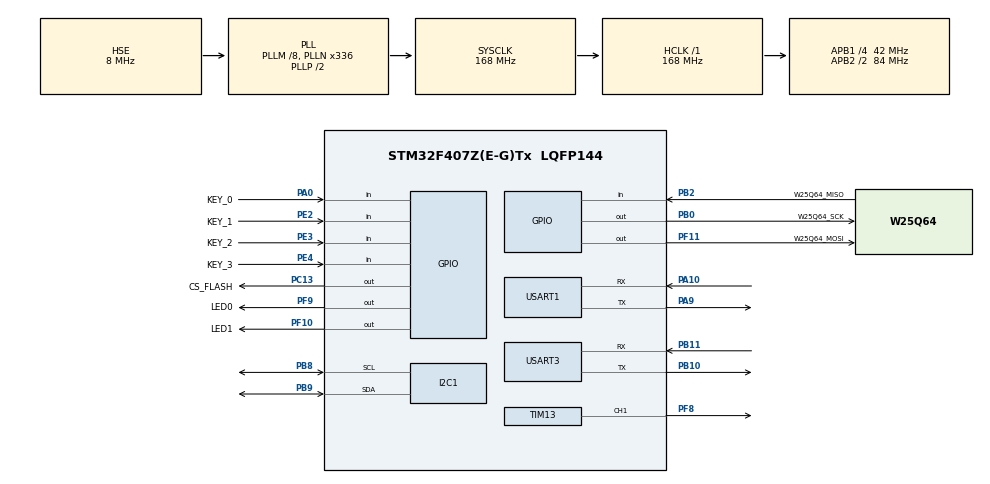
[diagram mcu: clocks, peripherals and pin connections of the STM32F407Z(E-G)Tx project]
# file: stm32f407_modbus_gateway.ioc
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FREERTOS.Tasks01=defaultTask,24,128,StartDefaultTask,Default,NULL,Dynamic,NULL,NULL
IWDG.Prescaler=IWDG_PRESCALER_256
IWDG.Reload=250
Mcu.Family=STM32F4
Mcu.Name=STM32F407Z(E-G)Tx
Mcu.Package=LQFP144
NVIC.PriorityGroup=NVIC_PRIORITYGROUP_4
NVIC.TIM6_DAC_IRQn=true\:15\:0\:false\:false\:true\:false\:false\:true\:true
NVIC.TimeBase=TIM6_DAC_IRQn
NVIC.TimeBaseIP=TIM6
NVIC.USART1_IRQn=true\:5\:0\:false\:false\:true\:true\:true\:true\:true
NVIC.USART3_IRQn=true\:5\:0\:false\:false\:true\:true\:true\:true\:true
PA0-WKUP.GPIO_Label=KEY_0
PA0-WKUP.GPIO_PuPd=GPIO_PULLUP
PA0-WKUP.Signal=GPIO_Input
PA10.Mode=Asynchronous
PA10.Signal=USART1_RX
PA13.Mode=Serial_Wire
PA13.Signal=SYS_JTMS-SWDIO
PA14.Mode=Serial_Wire
PA14.Signal=SYS_JTCK-SWCLK
PA9.Mode=Asynchronous
PA9.Signal=USART1_TX
PB0.GPIO_Label=W25Q64_SCK
PB0.GPIO_Speed=GPIO_SPEED_FREQ_HIGH
PB0.Signal=GPIO_Output
PB10.Mode=Asynchronous
PB10.Signal=USART3_TX
PB11.Mode=Asynchronous
PB11.Signal=USART3_RX
PB2.GPIO_Label=W25Q64_MISO
PB2.GPIO_PuPd=GPIO_PULLUP
PB2.Signal=GPIO_Input
PB8.GPIO_Pu=GPIO_PULLUP
PB8.Mode=I2C
PB8.Signal=I2C1_SCL
PB9.GPIO_Pu=GPIO_PULLUP
PB9.Mode=I2C
PB9.Signal=I2C1_SDA
PC13-ANTI_TAMP.GPIO_Label=CS_FLASH
PC13-ANTI_TAMP.PinState=GPIO_PIN_SET
PC13-ANTI_TAMP.Signal=GPIO_Output
PE2.GPIO_Label=KEY_1
PE2.GPIO_PuPd=GPIO_PULLUP
PE2.Signal=GPIO_Input
PE3.GPIO_Label=KEY_2
PE3.GPIO_PuPd=GPIO_PULLUP
PE3.Signal=GPIO_Input
PE4.GPIO_Label=KEY_3
PE4.GPIO_PuPd=GPIO_PULLUP
PE4.Signal=GPIO_Input
PF10.GPIO_Label=LED1
PF10.Signal=GPIO_Output
PF11.GPIO_Label=W25Q64_MOSI
PF11.GPIO_Speed=GPIO_SPEED_FREQ_HIGH
PF11.Signal=GPIO_Output
PF8.Signal=S_TIM13_CH1
PF9.GPIO_Label=LED0
PF9.GPIO_PuPd=GPIO_NOPULL
PF9.Signal=GPIO_Output
PH0-OSC_IN.Mode=HSE-External-Oscillator
PH0-OSC_IN.Signal=RCC_OSC_IN
PH1-OSC_OUT.Mode=HSE-External-Oscillator
PH1-OSC_OUT.Signal=RCC_OSC_OUT
ProjectManager.HeapSize=0x200
ProjectManager.StackSize=0x400
ProjectManager.TargetToolchain=MDK-ARM V5.32
RCC.48MHZClocksFreq_Value=84000000
RCC.AHBFreq_Value=168000000
RCC.APB1CLKDivider=RCC_HCLK_DIV4
RCC.APB1Freq_Value=42000000
RCC.APB1TimFreq_Value=84000000
RCC.APB2CLKDivider=RCC_HCLK_DIV2
RCC.APB2Freq_Value=84000000
RCC.APB2TimFreq_Value=168000000
RCC.CortexFreq_Value=168000000
RCC.HCLKFreq_Value=168000000
RCC.HSE_VALUE=8000000
RCC.HSI_VALUE=16000000
RCC.LSE_VALUE=32768
RCC.PLLM=8
RCC.PLLN=336
RCC.PLLSourceVirtual=RCC_PLLSOURCE_HSE
RCC.SYSCLKFreq_VALUE=168000000
RCC.SYSCLKSource=RCC_SYSCLKSOURCE_PLLCLK
RCC.VCOOutputFreq_Value=336000000
SH.S_TIM13_CH1.0=TIM13_CH1,PWM Generation1 CH1
TIM13.Channel=TIM_CHANNEL_1
TIM13.Period=499
TIM13.Prescaler=83
USART1.VirtualMode=VM_ASYNC
USART3.VirtualMode=VM_ASYNC
VP_FREERTOS_VS_CMSIS_V2.Mode=CMSIS_V2
VP_IWDG_VS_IWDG.Mode=IWDG_Activate
VP_SYS_VS_tim6.Mode=TIM6
VP_TIM13_VS_ClockSourceINT.Mode=Enable_Timer
board=custom

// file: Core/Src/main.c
/* USER CODE BEGIN Header */
/**
  ******************************************************************************
  * @file           : main.c
  * @brief          : Main program body
  ******************************************************************************
  * @attention
  *
  * Copyright (c) 2026 STMicroelectronics.
  * All rights reserved.
  *
  * This software is licensed under terms that can be found in the LICENSE file
  * in the root directory of this software component.
  * If no LICENSE file comes with this software, it is provided AS-IS.
  *
  ******************************************************************************
  */
/* USER CODE END Header */
#include "main.h"
#include "cmsis_os.h"
#include "i2c.h"
#include "iwdg.h"
#include "tim.h"
#include "usart.h"
#include "gpio.h"

void SystemClock_Config(void);
void MX_FREERTOS_Init(void);

int main(void)
{

  /* MCU Configuration--------------------------------------------------------*/

  /* Reset of all peripherals, Initializes the Flash interface and the Systick. */
  HAL_Init();

  /* Configure the system clock */
  SystemClock_Config();

  /* Initialize all configured peripherals */
  MX_GPIO_Init();
  MX_USART1_UART_Init();
  MX_USART3_UART_Init();
  MX_I2C1_Init();
  MX_TIM13_Init();
  MX_IWDG_Init();
  HAL_IWDG_Refresh(&hiwdg);   /* ★ 提前喂一次: APP_MAIN_Init 在调度器启动前运行,
                                  期间无人喂狗; 无论 Init 耗时多久(含 W25Q64 读ID),
                                  都不会因 2s 看门狗复位。治本防"上电即卡死"。 */
  /* USER CODE BEGIN 2 */
	APP_MAIN_Init();
  /* USER CODE END 2 */

  /* Init scheduler */
  osKernelInitialize();  /* Call init function for freertos objects (in cmsis_os2.c) */
  MX_FREERTOS_Init();

  /* Start scheduler */
  osKernelStart();

  /* We should never get here as control is now taken by the scheduler */

  /* Infinite loop */
  while (1)
  {

    /* USER CODE BEGIN 3 */
    /* 主循环逻辑已迁往 FreeRTOS 任务（freertos.c GW_Task/UI_Task/Alert_Task），
       此处仅空转，实际工作全部由 osKernelStart() 启动的调度器接管 */
  }
  /* USER CODE END 3 */
}

void SystemClock_Config(void)
{
  RCC_OscInitTypeDef RCC_OscInitStruct = {0};
  RCC_ClkInitTypeDef RCC_ClkInitStruct = {0};

  /** Configure the main internal regulator output voltage
  */
  __HAL_RCC_PWR_CLK_ENABLE();
  __HAL_PWR_VOLTAGESCALING_CONFIG(PWR_REGULATOR_VOLTAGE_SCALE1);

  /** Initializes the RCC Oscillators according to the specified parameters
  * in the RCC_OscInitTypeDef structure.
  */
  RCC_OscInitStruct.OscillatorType = RCC_OSCILLATORTYPE_LSI|RCC_OSCILLATORTYPE_HSE;
  RCC_OscInitStruct.HSEState = RCC_HSE_ON;
  RCC_OscInitStruct.LSIState = RCC_LSI_ON;
  RCC_OscInitStruct.PLL.PLLState = RCC_PLL_ON;
  RCC_OscInitStruct.PLL.PLLSource = RCC_PLLSOURCE_HSE;
  RCC_OscInitStruct.PLL.PLLM = 8;
  RCC_OscInitStruct.PLL.PLLN = 336;
  RCC_OscInitStruct.PLL.PLLP = RCC_PLLP_DIV2;
  RCC_OscInitStruct.PLL.PLLQ = 4;
  if (HAL_RCC_OscConfig(&RCC_OscInitStruct) != HAL_OK)
  {
    Error_Handler();
  }

  /** Initializes the CPU, AHB and APB buses clocks
  */
  RCC_ClkInitStruct.ClockType = RCC_CLOCKTYPE_HCLK|RCC_CLOCKTYPE_SYSCLK
                              |RCC_CLOCKTYPE_PCLK1|RCC_CLOCKTYPE_PCLK2;
  RCC_ClkInitStruct.SYSCLKSource = RCC_SYSCLKSOURCE_PLLCLK;
  RCC_ClkInitStruct.AHBCLKDivider = RCC_SYSCLK_DIV1;
  RCC_ClkInitStruct.APB1CLKDivider = RCC_HCLK_DIV4;
  RCC_ClkInitStruct.APB2CLKDivider = RCC_HCLK_DIV2;

  if (HAL_RCC_ClockConfig(&RCC_ClkInitStruct, FLASH_LATENCY_5) != HAL_OK)
  {
    Error_Handler();
  }
}

void HAL_TIM_PeriodElapsedCallback(TIM_HandleTypeDef *htim)
{
  if (htim->Instance == TIM6)
  {
    HAL_IncTick();
  }
}

void Error_Handler(void)
{
  __disable_irq();
  while (1)
  {
  }
}

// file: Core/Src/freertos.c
/* USER CODE BEGIN Header */
/**
  ******************************************************************************
  * File Name          : freertos.c
  * Description        : Code for freertos applications
  ******************************************************************************
  * @attention
  *
  * Copyright (c) 2026 STMicroelectronics.
  * All rights reserved.
  *
  * This software is licensed under terms that can be found in the LICENSE file
  * in the root directory of this software component.
  * If no LICENSE file comes with this software, it is provided AS-IS.
  *
  ******************************************************************************
  */
/* USER CODE END Header */

#include "FreeRTOS.h"
#include "task.h"
#include "main.h"
#include "cmsis_os.h"

/* USER CODE BEGIN Includes */
#include "modbus_gateway.h"   /* GW_Poll / GW_StartRx / GW_FeedRxByte / gw_ev_t */
#include "ui.h"               /* UI_Refresh */
#include "gpio.h"             /* GPIOF / GPIO_PIN_9 (LED0) */
#include "iwdg.h"             /* hiwdg + HAL_IWDG_Refresh (阶段10 看门狗) */
#include "sys_service.h"      /* WD_Task_Alive / WD_CheckAll (系统服务层看门狗) */
/* USER CODE END Includes */

/* USER CODE BEGIN Variables */
osMessageQueueId_t g_q_rx;   /* 字节队列: 元素 uint16_t=(port<<8)|byte, ISR→gw_task */
osMessageQueueId_t g_q_ev;   /* 事件队列: 元素 uint8_t=gw_ev_t, gw_task→alert_task */
osMessageQueueId_t g_q_bb;   /* 黑匣子队列: 元素 bb_qev_t, gw_task→bb_task (异步 W25Q64 写) */

/* 任务属性: gw 最高(轮询+应答不能被 UI 拖), alert 次之, ui 较低(慢 OLED 不抢时间),
 * bb 最低(W25Q64 擦扇区 100ms,即使阻塞也不卡 PC 链路) */
const osThreadAttr_t gwTask_attributes = {
  .name = "gwTask", .stack_size = 512 * 4,
  .priority = (osPriority_t) osPriorityAboveNormal,
};
const osThreadAttr_t uiTask_attributes = {
  .name = "uiTask", .stack_size = 512 * 4,
  .priority = (osPriority_t) osPriorityBelowNormal,
};
const osThreadAttr_t alertTask_attributes = {
  .name = "alertTask", .stack_size = 256 * 4,
  .priority = (osPriority_t) osPriorityNormal,
};
/* 黑匣子任务: 优先级 osPriorityLow, 低于 UI, 持久化阻塞不被感知 */
const osThreadAttr_t bbTask_attributes = {
  .name = "bbTask", .stack_size = 256 * 4,
  .priority = (osPriority_t) osPriorityLow,
};
/* 系统服务层看门狗任务: 优先级 osPriorityIdle(最低), 每秒巡检各业务任务心跳
 * 并独占 IWDG 喂狗。纯 osDelay 无阻塞; 若自身卡死, IWDG 兜底复位。 */
const osThreadAttr_t wdTask_attributes = {
  .name = "wdTask", .stack_size = 256 * 4,
  .priority = (osPriority_t) osPriorityIdle,
};
/* USER CODE END Variables */
/* Definitions for defaultTask */
osThreadId_t defaultTaskHandle;
const osThreadAttr_t defaultTask_attributes = {
  .name = "defaultTask",
  .stack_size = 128 * 4,
  .priority = (osPriority_t) osPriorityNormal,
};

/* USER CODE BEGIN FunctionPrototypes */
void GW_Task(void *argument);
void UI_Task(void *argument);
void Alert_Task(void *argument);
void BB_Task_Entry(void *argument);   /* 故障黑匣子: 异步持久化到 W25Q64 */
void WD_Task_Entry(void *argument);   /* 系统服务层看门狗: 巡检心跳 + 独占喂狗 */
/* USER CODE END FunctionPrototypes */

void StartDefaultTask(void *argument);

void MX_FREERTOS_Init(void); /* (MISRA C 2004 rule 8.1) */

void MX_FREERTOS_Init(void) {

  /* USER CODE BEGIN RTOS_QUEUES */
  /* add queues, ... */
  g_q_rx = osMessageQueueNew(64, sizeof(uint16_t), NULL);
  g_q_ev = osMessageQueueNew(8,  sizeof(uint8_t),  NULL);
  g_q_bb = osMessageQueueNew(32, sizeof(bb_qev_t), NULL);
  /* USER CODE END RTOS_QUEUES */

  /* Create the thread(s) */
  /* creation of defaultTask */
  defaultTaskHandle = osThreadNew(StartDefaultTask, NULL, &defaultTask_attributes);

  /* USER CODE BEGIN RTOS_THREADS */
  /* add threads, ... */
  osThreadNew(GW_Task,       NULL, &gwTask_attributes);
  osThreadNew(UI_Task,       NULL, &uiTask_attributes);
  osThreadNew(Alert_Task,    NULL, &alertTask_attributes);
  osThreadNew(BB_Task_Entry, NULL, &bbTask_attributes);
  osThreadNew(WD_Task_Entry, NULL, &wdTask_attributes);
  /* USER CODE END RTOS_THREADS */

}

void StartDefaultTask(void *argument)
{
  for(;;)
  {
    osDelay(1);
  }
}

/* USER CODE BEGIN Application */

/* ================================================================
 * gw_task —— 网关核心（高优先级）
 *  1) 从字节队列取 {port,byte}（ISR 用 PutFromISR 入队）喂给接收缓冲
 *  2) GW_Poll(): 主站轮询 F103 + 从站应答 PC + 数据镜像 + LED + 事件入队
 *  每 20ms 周期执行；队列为空时 osMessageQueueGet 立即返回(超时0)不阻塞。
 * ================================================================ */
void GW_Task(void *argument)
{
    GW_StartRx();   /* 调度器已就绪、队列已创建，此刻武装 RXNE 才安全 */

    for (;;)
    {
        //osDelay(15000);   /* ★ 临时验证看门狗: 故意卡死 gw_task, 验证后必须删除本行 */
        WD_Task_Alive(WD_TASK_GW);   /* 心跳上报 (系统服务层), IWDG 喂狗已下沉 wd_task */
        uint16_t item;
        while (osMessageQueueGet(g_q_rx, &item, NULL, 0) == osOK)
        {
            GW_FeedRxByte((uint8_t)(item >> 8), (uint8_t)(item & 0xFF));
        }
        GW_Poll();
        osDelay(20);
    }
}

/* ================================================================
 * ui_task —— OLED 渲染 + KEY 扫描（低优先级，慢 I2C 不抢 gw 的时间）
 * ================================================================ */
void UI_Task(void *argument)
{
    for (;;)
    {
        WD_Task_Alive(WD_TASK_UI);   /* 心跳上报 (系统服务层) */
        UI_Refresh();   /* 内部已有 200ms 节流 */
        osDelay(200);
    }
}

/* ================================================================
 * alert_task —— 告警（中优先级）
 *  事件驱动 + 实时状态兜底:
 *   - PC 心跳: 仅事件驱动 (沿变有效)
 *   - F103 / FAULT: 200ms 重读 g_gw_regs,按最新状态判定,
 *                  防止事件队列塞满/丢失导致永报警
 *  PC 失联 / F103 不在线 / 有 Fault → 蜂鸣 0.5s 周期 + LED0(PF9) 闪;
 *  全部正常 → 静音 + LED0 常亮(链路正常指示)。
 * ================================================================ */
void Alert_Task(void *argument)
{
    uint8_t ev;
    uint8_t s_alarm_pc   = 0;   /* PC 失联  (仅事件驱动) */
    uint8_t s_alarm_sys  = 0;   /* F103/FAULT 综合 (实时校准) */
    uint32_t last_check  = 0;

    BEEP_Init();   /* 启动 TIM13 PWM (初始静音) */

    for (;;)
    {
        WD_Task_Alive(WD_TASK_ALERT);   /* 心跳上报 (系统服务层) */

        /* 取事件 (100ms 超时, 不阻塞 → 报警态可持续刷新) */
        if (osMessageQueueGet(g_q_ev, &ev, NULL, 100) == osOK)
        {
            if (ev == GW_EV_PC_DOWN) s_alarm_pc = 1;
            if (ev == GW_EV_PC_UP)   s_alarm_pc = 0;
            /* F103/FAULT 事件不再累加, 完全由实时状态决定 */
        }

        /* 每 200ms 重读 g_gw_regs 校准 F103 / Fault 报警:
         *   - 实时, 事件丢失也无所谓
         *   - F103 在线 (BIT_LINK on & !BIT_GW_DOWN) → 静
         *   - FAULT==0 → 静 */
        uint32_t now = HAL_GetTick();
        if ((now - last_check) >= 200U)
        {
            last_check = now;
            uint16_t sys   = g_gw_regs[R_GW_SYS_STATUS];
            uint16_t fault = g_gw_regs[R_GW_MOTOR_FAULT];
            uint8_t f103_ok = (sys & BIT_LINK) && !(sys & BIT_GW_DOWN);
            s_alarm_sys = (f103_ok && fault == FAULT_NONE) ? 0 : 1;
        }

        if (s_alarm_pc || s_alarm_sys)
        {
            /* 报警态: 蜂鸣 0.5s 周期 + LED0(PF9) 闪烁 (RESET=亮) */
            BEEP_Set(1);
            HAL_GPIO_WritePin(GPIOF, GPIO_PIN_9, GPIO_PIN_RESET);
            osDelay(250);
            BEEP_Set(0);
            HAL_GPIO_WritePin(GPIOF, GPIO_PIN_9, GPIO_PIN_SET);
            osDelay(250);
        }
        else
        {
            /* 正常: 静音 + LED0 常亮 */
            BEEP_Set(0);
            HAL_GPIO_WritePin(GPIOF, GPIO_PIN_9, GPIO_PIN_RESET);
            osDelay(100);
        }
    }
}

/* ================================================================
 * wd_task —— 系统服务层看门狗（最低优先级 osPriorityIdle）
 *   IWDG 喂狗职责从业务任务 GW_Task 下沉至独立 WD_Task:
 *   各业务任务仅上报心跳(WD_Task_Alive), 由本任务统一巡检。
 *   - 每秒巡检 4 个业务任务心跳:
 *       全健康  → HAL_IWDG_Refresh(正常喂狗)
 *       有超时  → 记黑匣子 BB_EV_TASK_TIMEOUT + 停止喂狗
 *                → IWDG(2s) 自然触发整机复位, 实现"系统级"复位语义
 *                  (单个业务任务卡死不再被"单任务喂狗"掩盖)
 *   - 本任务纯 osDelay 无阻塞; 若自身卡死, IWDG 兜底复位(自我监督)
 * ================================================================ */
void WD_Task_Entry(void *argument)
{
    (void)argument;
    for (;;)
    {
        osDelay(1000);          /* 每秒巡检一次 */
        if (WD_CheckAll())
        {
            HAL_IWDG_Refresh(&hiwdg);   /* 全部任务健康 → 正常喂狗 */
        }
        else
        {
            /* 有任务超时: 先把事件码原子写入备份域(BKPSRAM, 复位不丢), 再停喂
               → ~2s 后 IWDG 复位整机。BKPSRAM 写 <1us 不会被 IWDG 打断,
               而 BB_Log 走队列→W25Q64 写可能被复位打断 → 事件7落不了盘。
               复位后由 GW_Poll 把备份域事件迁移进黑匣子(#1)。 */
            WD_Bkp_WriteEvent(BB_EV_TASK_TIMEOUT);
            BB_Log(BB_EV_TASK_TIMEOUT, 0);
        }
    }
}

/* USER CODE END Application */
